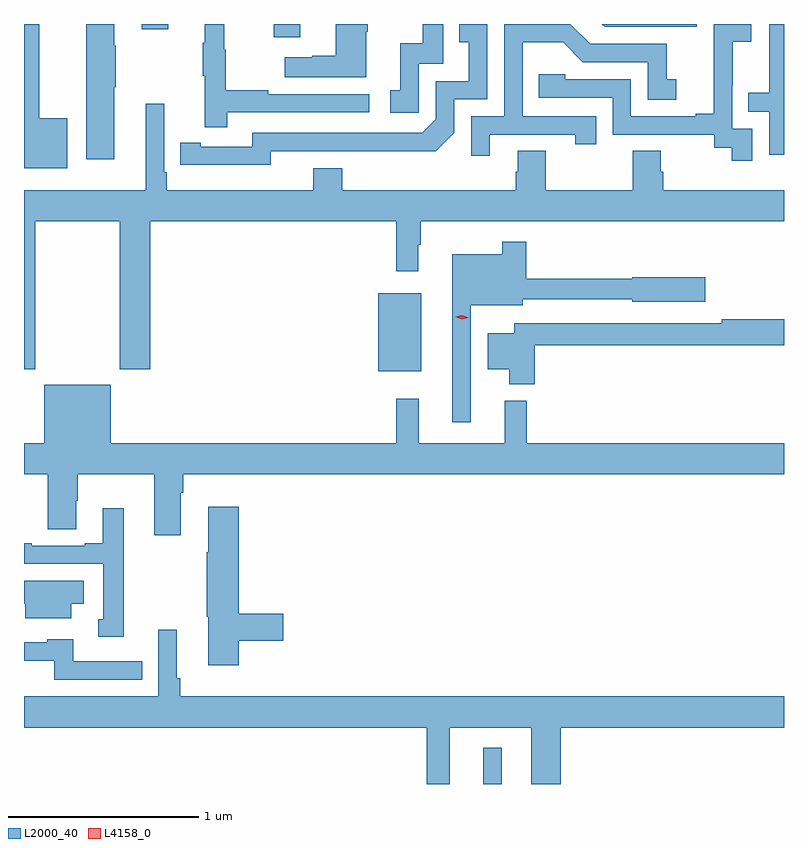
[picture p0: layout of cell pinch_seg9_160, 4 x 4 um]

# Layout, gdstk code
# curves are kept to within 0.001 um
import gdstk
lib = gdstk.Library(unit=1e-6, precision=1e-09)
def R(c, l, rs):  # rectangles x0, y0, x1, y1
    for r in rs: c.add(gdstk.rectangle(r[:2], r[2:], *l))
def P(c, l, *ps):  # polygons
    for p in ps: c.add(gdstk.Polygon(p, *l))
L2000_40 = (2000, 40)
L4158_0 = (4158, 0)

pinch_seg9_160 = lib.new_cell('pinch_seg9_160')
R(pinch_seg9_160, L2000_40, [(659.846,1169.483,659.944,1169.674), (659.294,1171.655,659.521,1172.065), (658.745,1173.414,658.885,1173.483), (658.049,1173.456,658.189,1173.483)])
P(pinch_seg9_160, L2000_40, [(661.43,1173.483),(661.353,1173.483),(661.353,1173.122),(661.243,1173.122),(661.243,1173.021),(661.353,1173.021),(661.353,1172.796),(661.43,1172.796)],
  [(660.972,1173.483),(660.471,1173.483),(660.486,1173.468),(660.972,1173.468)],
  [(659.508,1173.273),(659.637,1173.273),(659.637,1173.483),(659.529,1173.483),(659.529,1173.382),(659.411,1173.382),(659.411,1173.135),(659.358,1173.135),(659.358,1173.015),(659.508,1173.015)],
  [(659.881,1172.901),(660.332,1172.901),(660.332,1172.85),(660.443,1172.85),(660.443,1172.997),(660.054,1172.997),(660.054,1173.386),(660.268,1173.386),(660.372,1173.282),(660.714,1173.282),(660.714,1173.084),(660.862,1173.084),(660.862,1173.193),(660.813,1173.193),(660.813,1173.378),(660.409,1173.378),(660.304,1173.483),(659.958,1173.483),(659.958,1172.997),(659.784,1172.997),(659.784,1172.79),(659.881,1172.79)],
  [(658.728,1172.814),(659.596,1172.813),(659.694,1172.91),(659.694,1173.087),(659.868,1173.087),(659.868,1173.483),(659.722,1173.483),(659.722,1173.387),(659.771,1173.387),(659.771,1173.183),(659.598,1173.183),(659.598,1172.982),(659.526,1172.91),(658.632,1172.91),(658.632,1172.838),(658.36,1172.838),(658.36,1172.858),(658.252,1172.858),(658.252,1172.742),(658.728,1172.741)],
  [(661.263,1172.931),(661.158,1172.931),(661.158,1173.161),(661.16,1173.161),(661.16,1173.389),(661.258,1173.389),(661.258,1173.483),(661.06,1173.483),(661.06,1173.293),(661.061,1173.293),(661.061,1173.01),(660.965,1173.01),(660.965,1172.997),(660.624,1172.997),(660.624,1173.192),(660.279,1173.192),(660.279,1173.219),(660.139,1173.219),(660.139,1173.096),(660.528,1173.096),(660.528,1172.901),(661.062,1172.901),(661.062,1172.833),(661.155,1172.833),(661.155,1172.763),(661.263,1172.763)],
  [(659.23,1173.443),(659.238,1173.443),(659.238,1173.483),(659.072,1173.483),(659.072,1173.317),(658.946,1173.317),(658.946,1173.307),(658.803,1173.307),(658.803,1173.203),(659.23,1173.203)],
  [(658.499,1173.018),(659.248,1173.018),(659.248,1173.114),(658.715,1173.114),(658.715,1173.134),(658.492,1173.134),(658.492,1173.348),(658.484,1173.348),(658.484,1173.483),(658.382,1173.483),(658.382,1173.385),(658.371,1173.385),(658.371,1173.211),(658.382,1173.211),(658.382,1172.94),(658.499,1172.94)],
  [(657.904,1173.151),(657.912,1173.151),(657.912,1173.368),(657.904,1173.368),(657.904,1173.483),(657.758,1173.483),(657.758,1172.772),(657.904,1172.772)],
  [(657.658,1172.986),(657.511,1172.986),(657.511,1173.483),(657.43,1173.483),(657.43,1172.723),(657.658,1172.723)],
  [(657.489,1172.444),(657.934,1172.444),(657.934,1171.665),(658.094,1171.665),(658.094,1172.444),(659.389,1172.444),(659.389,1172.181),(659.506,1172.181),(659.506,1172.321),(659.518,1172.321),(659.518,1172.444),(661.43,1172.444),(661.43,1172.608),(660.794,1172.608),(660.794,1172.706),(660.781,1172.706),(660.781,1172.816),(660.634,1172.816),(660.634,1172.608),(660.177,1172.608),(660.177,1172.816),(660.029,1172.816),(660.029,1172.706),(660.017,1172.706),(660.017,1172.608),(659.105,1172.608),(659.105,1172.725),(658.952,1172.725),(658.952,1172.608),(658.181,1172.608),(658.181,1172.704),(658.167,1172.704),(658.167,1173.064),(658.07,1173.064),(658.07,1172.608),(657.43,1172.608),(657.43,1171.665),(657.489,1171.665)],
  [(659.781,1172.003),(660.055,1172.003),(660.055,1172.034),(660.63,1172.034),(660.63,1172.021),(661.015,1172.021),(661.015,1172.151),(660.63,1172.151),(660.63,1172.143),(660.074,1172.143),(660.074,1172.338),(659.946,1172.338),(659.946,1172.272),(659.684,1172.272),(659.684,1171.386),(659.781,1171.386)],
  [(660.119,1171.792),(661.43,1171.792),(661.43,1171.928),(661.102,1171.928),(661.102,1171.908),(660.009,1171.908),(660.009,1171.855),(659.87,1171.855),(659.87,1171.667),(659.984,1171.667),(659.984,1171.586),(660.119,1171.586)],
  [(658.255,1171.016),(658.268,1171.016),(658.268,1171.112),(661.43,1171.112),(661.43,1171.276),(660.077,1171.276),(660.077,1171.501),(659.96,1171.501),(659.96,1171.276),(659.507,1171.276),(659.507,1171.51),(659.389,1171.51),(659.389,1171.276),(657.886,1171.276),(657.886,1171.585),(657.536,1171.585),(657.536,1171.276),(657.43,1171.276),(657.43,1171.112),(657.554,1171.112),(657.554,1170.823),(657.706,1170.823),(657.706,1170.974),(657.714,1170.974),(657.714,1171.112),(658.115,1171.112),(658.115,1170.792),(658.255,1170.792)],
  [(658.559,1170.238),(658.795,1170.238),(658.795,1170.38),(658.559,1170.38),(658.559,1170.943),(658.4,1170.943),(658.4,1170.704),(658.393,1170.704),(658.393,1170.363),(658.4,1170.363),(658.4,1170.108),(658.559,1170.108)],
  [(657.955,1170.934),(657.845,1170.934),(657.845,1170.751),(657.749,1170.751),(657.749,1170.738),(657.47,1170.738),(657.47,1170.751),(657.43,1170.751),(657.43,1170.642),(657.846,1170.642),(657.846,1170.351),(657.821,1170.351),(657.821,1170.257),(657.955,1170.257)],
  [(657.679,1170.431),(657.745,1170.431),(657.745,1170.553),(657.43,1170.553),(657.43,1170.431),(657.437,1170.431),(657.437,1170.356),(657.679,1170.356)],
  [(659.671,1169.78),(660.101,1169.78),(660.101,1169.483),(660.254,1169.483),(660.254,1169.78),(661.43,1169.78),(661.43,1169.944),(658.253,1169.944),(658.253,1170.04),(658.234,1170.04),(658.234,1170.295),(658.137,1170.295),(658.137,1169.944),(657.43,1169.944),(657.43,1169.78),(659.55,1169.78),(659.55,1169.483),(659.671,1169.483)],
  [(658.052,1170.129),(657.688,1170.129),(657.688,1170.244),(657.552,1170.244),(657.552,1170.228),(657.43,1170.228),(657.43,1170.132),(657.589,1170.132),(657.589,1170.033),(658.052,1170.033)])
P(pinch_seg9_160, L4158_0, [(659.735,1171.929),(659.7,1171.941),(659.7,1171.941),(659.7,1171.941),(659.736,1171.949),(659.771,1171.938),(659.771,1171.938),(659.771,1171.938)])

lib.write_gds('pinch_seg9_160.gds')
